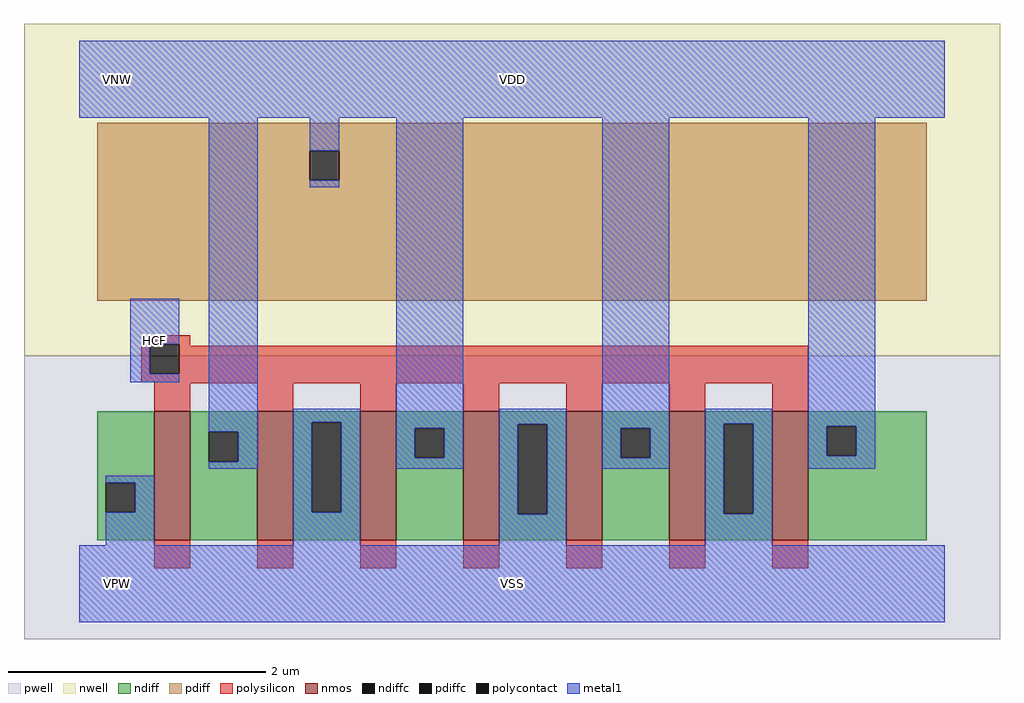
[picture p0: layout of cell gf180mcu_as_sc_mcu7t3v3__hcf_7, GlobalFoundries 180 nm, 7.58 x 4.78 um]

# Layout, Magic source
magic
tech gf180mcuD
magscale 1 10
<< nwell >>
rect -86 354 1430 870
<< pwell >>
rect -86 -86 1430 354
<< nmos >>
rect 116 68 172 268
rect 276 68 332 268
rect 436 68 492 268
rect 596 68 652 268
rect 756 68 812 268
rect 916 68 972 268
rect 1076 68 1132 268
<< ndiff >>
rect 28 157 116 268
rect 28 111 41 157
rect 87 111 116 157
rect 28 68 116 111
rect 172 236 276 268
rect 172 190 201 236
rect 247 190 276 236
rect 172 68 276 190
rect 332 251 436 268
rect 332 111 361 251
rect 407 111 436 251
rect 332 68 436 111
rect 492 242 596 268
rect 492 196 521 242
rect 567 196 596 242
rect 492 68 596 196
rect 652 248 756 268
rect 652 108 681 248
rect 727 108 756 248
rect 652 68 756 108
rect 812 242 916 268
rect 812 196 841 242
rect 887 196 916 242
rect 812 68 916 196
rect 972 249 1076 268
rect 972 109 1001 249
rect 1047 109 1076 249
rect 972 68 1076 109
rect 1132 245 1316 268
rect 1132 199 1161 245
rect 1207 199 1316 245
rect 1132 68 1316 199
<< pdiff >>
rect 28 673 1316 716
rect 28 627 358 673
rect 404 627 1316 673
rect 28 440 1316 627
<< ndiffc >>
rect 41 111 87 157
rect 201 190 247 236
rect 361 111 407 251
rect 521 196 567 242
rect 681 108 727 248
rect 841 196 887 242
rect 1001 109 1047 249
rect 1161 199 1207 245
<< pdiffc >>
rect 358 627 404 673
<< polysilicon >>
rect 96 372 172 386
rect 96 326 109 372
rect 155 370 172 372
rect 155 326 1132 370
rect 96 313 1132 326
rect 116 312 1132 313
rect 116 268 172 312
rect 276 268 332 312
rect 436 268 492 312
rect 596 268 652 312
rect 756 268 812 312
rect 916 268 972 312
rect 1076 268 1132 312
rect 116 24 172 68
rect 276 24 332 68
rect 436 24 492 68
rect 596 24 652 68
rect 756 24 812 68
rect 916 24 972 68
rect 1076 24 1132 68
<< polycontact >>
rect 109 326 155 372
<< metal1 >>
rect 0 724 1344 844
rect 79 372 155 443
rect 79 326 109 372
rect 79 313 155 326
rect 201 236 277 724
rect 358 673 404 724
rect 358 616 404 627
rect 247 190 277 236
rect 201 179 277 190
rect 332 251 436 272
rect 41 157 116 168
rect 87 111 116 157
rect 41 60 116 111
rect 332 111 361 251
rect 407 111 436 251
rect 492 242 596 724
rect 492 196 521 242
rect 567 196 596 242
rect 492 179 596 196
rect 652 248 756 272
rect 332 60 436 111
rect 652 108 681 248
rect 727 108 756 248
rect 812 242 916 724
rect 812 196 841 242
rect 887 196 916 242
rect 812 179 916 196
rect 972 249 1076 272
rect 652 60 756 108
rect 972 109 1001 249
rect 1047 109 1076 249
rect 1132 245 1236 724
rect 1132 199 1161 245
rect 1207 199 1236 245
rect 1132 179 1236 199
rect 972 60 1076 109
rect 0 -60 1344 60
<< labels >>
flabel metal1 s 0 724 1344 844 0 FreeSans 400 0 0 0 VDD
port 1 nsew power bidirectional abutment
flabel metal1 s 0 -60 1344 60 0 FreeSans 400 0 0 0 VSS
port 4 nsew ground bidirectional abutment
flabel nwell s 10 734 110 834 0 FreeSans 400 0 0 0 VNW
port 2 nsew power bidirectional
flabel pwell s 10 -50 110 50 0 FreeSans 400 0 0 0 VPW
port 3 nsew ground bidirectional
flabel metal1 79 313 155 443 0 FreeSans 200 0 0 0 HCF
port 5 nsew signal input
<< properties >>
string FIXED_BBOX 0 0 1344 784
string LEFclass CORE
string LEFsite unithd
string LEFsymmetry X Y
string MASKHINTS_NPLUS -16 -46 1360 354
string MASKHINTS_PPLUS -16 354 1360 830
<< end >>
